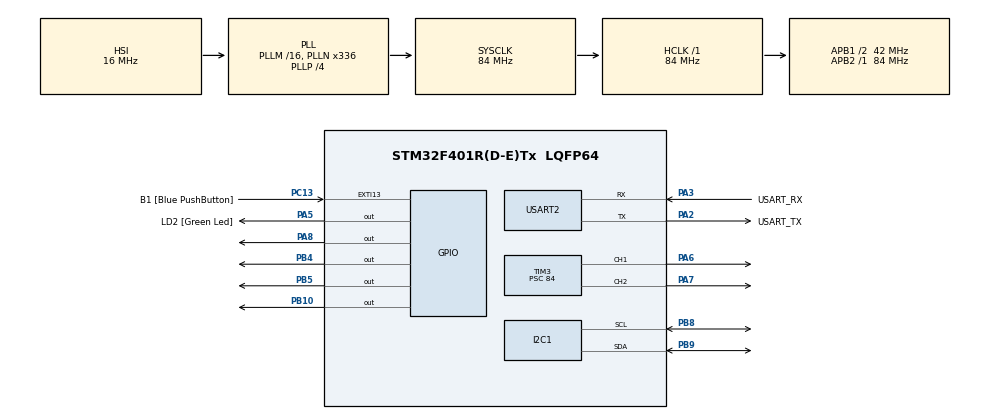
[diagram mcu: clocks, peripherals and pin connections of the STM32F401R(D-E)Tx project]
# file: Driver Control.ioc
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Mcu.Family=STM32F4
Mcu.Name=STM32F401R(D-E)Tx
Mcu.Package=LQFP64
NVIC.PriorityGroup=NVIC_PRIORITYGROUP_0
PA13.GPIO_Label=TMS
PA13.Mode=Serial_Wire
PA13.Signal=SYS_JTMS-SWDIO
PA14.GPIO_Label=TCK
PA14.Mode=Serial_Wire
PA14.Signal=SYS_JTCK-SWCLK
PA2.GPIO_Label=USART_TX
PA2.GPIO_Mode=GPIO_MODE_AF_PP
PA2.GPIO_PuPd=GPIO_NOPULL
PA2.GPIO_Speed=GPIO_SPEED_FREQ_LOW
PA2.Mode=Asynchronous
PA2.Signal=USART2_TX
PA3.GPIO_Label=USART_RX
PA3.GPIO_Mode=GPIO_MODE_AF_PP
PA3.GPIO_PuPd=GPIO_NOPULL
PA3.GPIO_Speed=GPIO_SPEED_FREQ_LOW
PA3.Mode=Asynchronous
PA3.Signal=USART2_RX
PA5.GPIO_Label=LD2 [Green Led]
PA5.GPIO_Mode=GPIO_MODE_OUTPUT_PP
PA5.GPIO_PuPd=GPIO_NOPULL
PA5.GPIO_Speed=GPIO_SPEED_FREQ_LOW
PA5.Signal=GPIO_Output
PA6.Signal=S_TIM3_CH1
PA7.Signal=S_TIM3_CH2
PA8.Signal=GPIO_Output
PB10.Signal=GPIO_Output
PB3.GPIO_Label=SWO
PB3.Signal=SYS_JTDO-SWO
PB4.Signal=GPIO_Output
PB5.Signal=GPIO_Output
PB8.Mode=I2C
PB8.Signal=I2C1_SCL
PB9.Mode=I2C
PB9.Signal=I2C1_SDA
PC13-ANTI_TAMP.GPIO_Label=B1 [Blue PushButton]
PC13-ANTI_TAMP.GPIO_ModeDefaultEXTI=GPIO_MODE_IT_FALLING
PC13-ANTI_TAMP.GPIO_PuPd=GPIO_NOPULL
PC13-ANTI_TAMP.Signal=GPXTI13
PC14-OSC32_IN.Mode=LSE-External-Oscillator
PC14-OSC32_IN.Signal=RCC_OSC32_IN
PC15-OSC32_OUT.Mode=LSE-External-Oscillator
PC15-OSC32_OUT.Signal=RCC_OSC32_OUT
PH0\ -\ OSC_IN.Mode=HSE-External-Clock-Source
PH0\ -\ OSC_IN.Signal=RCC_OSC_IN
PH1\ -\ OSC_OUT.Mode=HSE-External-Clock-Source
PH1\ -\ OSC_OUT.Signal=RCC_OSC_OUT
ProjectManager.HeapSize=0x200
ProjectManager.StackSize=0x400
ProjectManager.TargetToolchain=Makefile
RCC.48MHZClocksFreq_Value=48000000
RCC.AHBFreq_Value=84000000
RCC.APB1CLKDivider=RCC_HCLK_DIV2
RCC.APB1Freq_Value=42000000
RCC.APB1TimFreq_Value=84000000
RCC.APB2Freq_Value=84000000
RCC.APB2TimFreq_Value=84000000
RCC.CortexFreq_Value=84000000
RCC.HCLKFreq_Value=84000000
RCC.HSE_VALUE=8000000
RCC.HSI_VALUE=16000000
RCC.PLLN=336
RCC.PLLP=RCC_PLLP_DIV4
RCC.PLLQ=7
RCC.SYSCLKFreq_VALUE=84000000
RCC.SYSCLKSource=RCC_SYSCLKSOURCE_PLLCLK
RCC.VCOOutputFreq_Value=336000000
SH.S_TIM3_CH1.0=TIM3_CH1,PWM Generation1 CH1
SH.S_TIM3_CH2.0=TIM3_CH2,PWM Generation2 CH2
TIM3.Channel-PWM\ Generation1\ CH1=TIM_CHANNEL_1
TIM3.Channel-PWM\ Generation2\ CH2=TIM_CHANNEL_2
TIM3.Period=20000
TIM3.Prescaler=84
USART2.VirtualMode=VM_ASYNC
VP_TIM3_VS_ClockSourceINT.Mode=Internal
board=NUCLEO-F401RE

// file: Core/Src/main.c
/* USER CODE BEGIN Header */
/**
  ******************************************************************************
  * @file           : main.c
  * @brief          : Main program body
  ******************************************************************************
  * @attention
  *
  * Copyright (c) 2023 STMicroelectronics.
  * All rights reserved.
  *
  * This software is licensed under terms that can be found in the LICENSE file
  * in the root directory of this software component.
  * If no LICENSE file comes with this software, it is provided AS-IS.
  *
  ******************************************************************************
  */
/* USER CODE END Header */
#include "main.h"

/* USER CODE BEGIN Includes */
#include <string.h>
#include <stdio.h>
#include "mpu6050.h"
#include "motor_driver.h"
#include "pid.c"
/* USER CODE END Includes */

I2C_HandleTypeDef hi2c1;

TIM_HandleTypeDef htim3;

UART_HandleTypeDef huart2;

void SystemClock_Config(void);
static void MX_GPIO_Init(void);
static void MX_I2C1_Init(void);
static void MX_TIM3_Init(void);
static void MX_USART2_UART_Init(void);

int main(void)
{
  /* USER CODE BEGIN 1 */
  MPU6050 mpu6050;
  mpu6050.yawAngle = 0;
  mpu6050.normalizeTick = 0;
  /* USER CODE END 1 */

  /* MCU Configuration--------------------------------------------------------*/

  /* Reset of all peripherals, Initializes the Flash interface and the Systick. */
  HAL_Init();

  /* Configure the system clock */
  SystemClock_Config();

  /* Initialize all configured peripherals */
  MX_GPIO_Init();
  MX_I2C1_Init();
  MX_TIM3_Init();
  MX_USART2_UART_Init();
  /* USER CODE BEGIN 2 */
  int x = mpu6050Init(&hi2c1);
  if (x == 1) {
    for (int i = 0; i < 20; i++) {
       HAL_GPIO_TogglePin(GPIOA, LD2_Pin);
    HAL_Delay(50);
     HAL_GPIO_TogglePin(GPIOA, LD2_Pin);
    HAL_Delay(200);
    }
  }

  HAL_TIM_PWM_Start(&htim3, TIM_CHANNEL_1);
  HAL_TIM_PWM_Start(&htim3, TIM_CHANNEL_2);

  __HAL_TIM_SET_COMPARE(&htim3, TIM_CHANNEL_1, speedControl(255));
  __HAL_TIM_SET_COMPARE(&htim3, TIM_CHANNEL_2, speedControl(255));
  /* USER CODE END 2 */

  /* Infinite loop */
  while (1)
  {
    readGyroData(&hi2c1, &mpu6050);
    readAccelData(&hi2c1, &mpu6050);
    readTempData(&hi2c1, &mpu6050);
    calculateAngleAccel(&hi2c1, &mpu6050);
    calculateAngleGyro(&mpu6050);

    motorLeftFWD();
    motorRightFWD();

    HAL_GPIO_TogglePin(GPIOA, LD2_Pin);
    HAL_Delay(1);
  }
}
// IMPORTANT!!!!!!!
// D4 maps to GPIOB, GPIO_PIN_5
// D5 maps to GPIOB, GPIO_PIN_4
// D6 maps to GPIOB, GPIO_PIN_10
// D7 maps to GPIOA, GPIO_PIN_8
void SystemClock_Config(void)
{
  RCC_OscInitTypeDef RCC_OscInitStruct = {0};
  RCC_ClkInitTypeDef RCC_ClkInitStruct = {0};

  /** Configure the main internal regulator output voltage
  */
  __HAL_RCC_PWR_CLK_ENABLE();
  __HAL_PWR_VOLTAGESCALING_CONFIG(PWR_REGULATOR_VOLTAGE_SCALE2);

  /** Initializes the RCC Oscillators according to the specified parameters
  * in the RCC_OscInitTypeDef structure.
  */
  RCC_OscInitStruct.OscillatorType = RCC_OSCILLATORTYPE_HSI;
  RCC_OscInitStruct.HSIState = RCC_HSI_ON;
  RCC_OscInitStruct.HSICalibrationValue = RCC_HSICALIBRATION_DEFAULT;
  RCC_OscInitStruct.PLL.PLLState = RCC_PLL_ON;
  RCC_OscInitStruct.PLL.PLLSource = RCC_PLLSOURCE_HSI;
  RCC_OscInitStruct.PLL.PLLM = 16;
  RCC_OscInitStruct.PLL.PLLN = 336;
  RCC_OscInitStruct.PLL.PLLP = RCC_PLLP_DIV4;
  RCC_OscInitStruct.PLL.PLLQ = 7;
  if (HAL_RCC_OscConfig(&RCC_OscInitStruct) != HAL_OK)
  {
    Error_Handler();
  }

  /** Initializes the CPU, AHB and APB buses clocks
  */
  RCC_ClkInitStruct.ClockType = RCC_CLOCKTYPE_HCLK|RCC_CLOCKTYPE_SYSCLK
                              |RCC_CLOCKTYPE_PCLK1|RCC_CLOCKTYPE_PCLK2;
  RCC_ClkInitStruct.SYSCLKSource = RCC_SYSCLKSOURCE_PLLCLK;
  RCC_ClkInitStruct.AHBCLKDivider = RCC_SYSCLK_DIV1;
  RCC_ClkInitStruct.APB1CLKDivider = RCC_HCLK_DIV2;
  RCC_ClkInitStruct.APB2CLKDivider = RCC_HCLK_DIV1;

  if (HAL_RCC_ClockConfig(&RCC_ClkInitStruct, FLASH_LATENCY_2) != HAL_OK)
  {
    Error_Handler();
  }
}

static void MX_I2C1_Init(void)
{

  hi2c1.Instance = I2C1;
  hi2c1.Init.ClockSpeed = 100000;
  hi2c1.Init.DutyCycle = I2C_DUTYCYCLE_2;
  hi2c1.Init.OwnAddress1 = 0;
  hi2c1.Init.AddressingMode = I2C_ADDRESSINGMODE_7BIT;
  hi2c1.Init.DualAddressMode = I2C_DUALADDRESS_DISABLE;
  hi2c1.Init.OwnAddress2 = 0;
  hi2c1.Init.GeneralCallMode = I2C_GENERALCALL_DISABLE;
  hi2c1.Init.NoStretchMode = I2C_NOSTRETCH_DISABLE;
  if (HAL_I2C_Init(&hi2c1) != HAL_OK)
  {
    Error_Handler();
  }

}

static void MX_TIM3_Init(void)
{

  TIM_ClockConfigTypeDef sClockSourceConfig = {0};
  TIM_MasterConfigTypeDef sMasterConfig = {0};
  TIM_OC_InitTypeDef sConfigOC = {0};

  htim3.Instance = TIM3;
  // prescaler changed from 72
  htim3.Init.Prescaler = 72;
  htim3.Init.CounterMode = TIM_COUNTERMODE_UP;
  htim3.Init.Period = 20000;
  htim3.Init.ClockDivision = TIM_CLOCKDIVISION_DIV1;
  htim3.Init.AutoReloadPreload = TIM_AUTORELOAD_PRELOAD_ENABLE;
  if (HAL_TIM_Base_Init(&htim3) != HAL_OK)
  {
    Error_Handler();
  }
  sClockSourceConfig.ClockSource = TIM_CLOCKSOURCE_INTERNAL;
  if (HAL_TIM_ConfigClockSource(&htim3, &sClockSourceConfig) != HAL_OK)
  {
    Error_Handler();
  }
  if (HAL_TIM_PWM_Init(&htim3) != HAL_OK)
  {
    Error_Handler();
  }
  sMasterConfig.MasterOutputTrigger = TIM_TRGO_RESET;
  sMasterConfig.MasterSlaveMode = TIM_MASTERSLAVEMODE_DISABLE;
  if (HAL_TIMEx_MasterConfigSynchronization(&htim3, &sMasterConfig) != HAL_OK)
  {
    Error_Handler();
  }
  sConfigOC.OCMode = TIM_OCMODE_PWM1;
  sConfigOC.Pulse = 0;
  sConfigOC.OCPolarity = TIM_OCPOLARITY_HIGH;
  sConfigOC.OCFastMode = TIM_OCFAST_DISABLE;
  if (HAL_TIM_PWM_ConfigChannel(&htim3, &sConfigOC, TIM_CHANNEL_1) != HAL_OK)
  {
    Error_Handler();
  }
  if (HAL_TIM_PWM_ConfigChannel(&htim3, &sConfigOC, TIM_CHANNEL_2) != HAL_OK)
  {
    Error_Handler();
  }
  HAL_TIM_MspPostInit(&htim3);

}

static void MX_USART2_UART_Init(void)
{

  huart2.Instance = USART2;
  huart2.Init.BaudRate = 115200;
  huart2.Init.WordLength = UART_WORDLENGTH_8B;
  huart2.Init.StopBits = UART_STOPBITS_1;
  huart2.Init.Parity = UART_PARITY_NONE;
  huart2.Init.Mode = UART_MODE_TX_RX;
  huart2.Init.HwFlowCtl = UART_HWCONTROL_NONE;
  huart2.Init.OverSampling = UART_OVERSAMPLING_16;
  if (HAL_UART_Init(&huart2) != HAL_OK)
  {
    Error_Handler();
  }

}

static void MX_GPIO_Init(void)
{
  GPIO_InitTypeDef GPIO_InitStruct = {0};

  /* GPIO Ports Clock Enable */
  __HAL_RCC_GPIOC_CLK_ENABLE();
  __HAL_RCC_GPIOH_CLK_ENABLE();
  __HAL_RCC_GPIOA_CLK_ENABLE();
  __HAL_RCC_GPIOB_CLK_ENABLE();

  /*Configure GPIO pin Output Level */
  HAL_GPIO_WritePin(GPIOA, LD2_Pin|GPIO_PIN_8, GPIO_PIN_RESET);

  /*Configure GPIO pin Output Level */
  HAL_GPIO_WritePin(GPIOB, GPIO_PIN_10|GPIO_PIN_4|GPIO_PIN_5, GPIO_PIN_RESET);

  /*Configure GPIO pin : B1_Pin */
  GPIO_InitStruct.Pin = B1_Pin;
  GPIO_InitStruct.Mode = GPIO_MODE_IT_FALLING;
  GPIO_InitStruct.Pull = GPIO_NOPULL;
  HAL_GPIO_Init(B1_GPIO_Port, &GPIO_InitStruct);

  /*Configure GPIO pins : LD2_Pin PA8 */
  GPIO_InitStruct.Pin = LD2_Pin|GPIO_PIN_8;
  GPIO_InitStruct.Mode = GPIO_MODE_OUTPUT_PP;
  GPIO_InitStruct.Pull = GPIO_NOPULL;
  GPIO_InitStruct.Speed = GPIO_SPEED_FREQ_LOW;
  HAL_GPIO_Init(GPIOA, &GPIO_InitStruct);

  /*Configure GPIO pins : PB10 PB4 PB5 */
  GPIO_InitStruct.Pin = GPIO_PIN_10|GPIO_PIN_4|GPIO_PIN_5;
  GPIO_InitStruct.Mode = GPIO_MODE_OUTPUT_PP;
  GPIO_InitStruct.Pull = GPIO_NOPULL;
  GPIO_InitStruct.Speed = GPIO_SPEED_FREQ_LOW;
  HAL_GPIO_Init(GPIOB, &GPIO_InitStruct);

}

void Error_Handler(void)
{
  __disable_irq();
  while (1)
  {
  }
}
